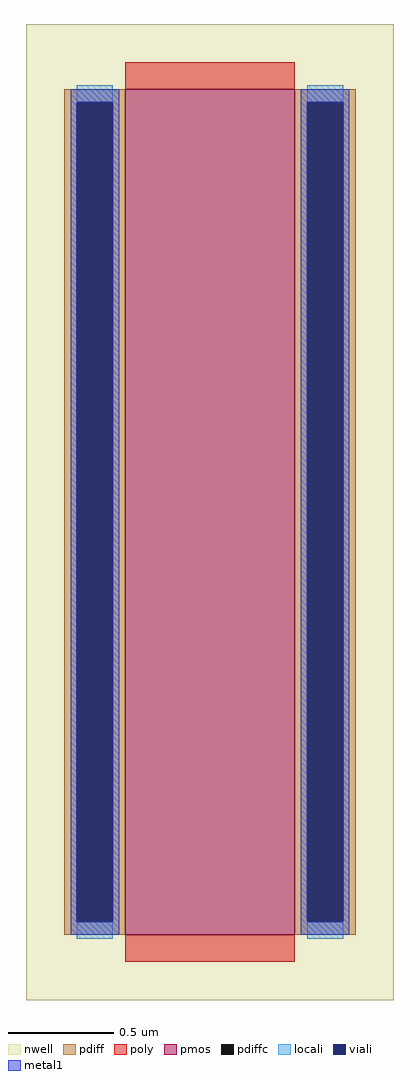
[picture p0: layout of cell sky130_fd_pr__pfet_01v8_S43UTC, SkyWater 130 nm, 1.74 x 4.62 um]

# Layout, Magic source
magic
tech sky130A
<< nwell >>
rect -87 -231 87 231
<< pmos >>
rect -40 -200 40 200
<< pdiff >>
rect -69 194 -40 200
rect -69 -194 -63 194
rect -46 -194 -40 194
rect -69 -200 -40 -194
rect 40 194 69 200
rect 40 -194 46 194
rect 63 -194 69 194
rect 40 -200 69 -194
<< pdiffc >>
rect -63 -194 -46 194
rect 46 -194 63 194
<< poly >>
rect -40 200 40 213
rect -40 -213 40 -200
<< locali >>
rect -63 194 -46 202
rect -63 -202 -46 -194
rect 46 194 63 202
rect 46 -202 63 -194
<< viali >>
rect -63 -194 -46 194
rect 46 -194 63 194
<< metal1 >>
rect -66 194 -43 200
rect -66 -194 -63 194
rect -46 -194 -43 194
rect -66 -200 -43 -194
rect 43 194 66 200
rect 43 -194 46 194
rect 63 -194 66 194
rect 43 -200 66 -194
<< properties >>
string gencell sky130_fd_pr__pfet_01v8
string library sky130
string parameters w 4 l 0.8 m 1 nf 1 diffcov 100 polycov 100 guard 0 glc 0 grc 0 gtc 0 gbc 0 tbcov 100 rlcov 100 topc 0 botc 0 poverlap 0 doverlap 0 lmin 0.15 wmin 0.42 compatible {sky130_fd_pr__pfet_01v8  sky130_fd_pr__pfet_01v8_lvt sky130_fd_pr__pfet_01v8_hvt  sky130_fd_pr__pfet_g5v0d10v5} full_metal 0 viasrc 100 viadrn 100 viagate 100 viagb 0 viagr 0 viagl 0 viagt 0
<< end >>
